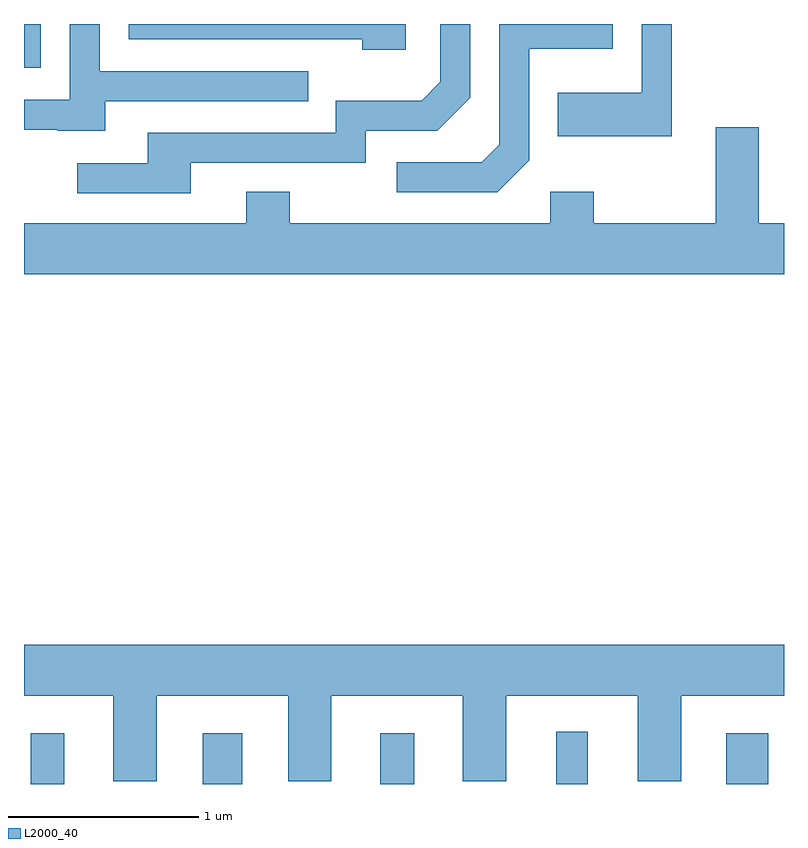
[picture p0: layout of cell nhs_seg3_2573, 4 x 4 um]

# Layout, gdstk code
import gdstk
lib = gdstk.Library(unit=1e-6, precision=1e-09)
def R(c, l, rs):  # rectangles x0, y0, x1, y1
    for r in rs: c.add(gdstk.rectangle(r[:2], r[2:], *l))
def P(c, l, *ps):  # polygons
    for p in ps: c.add(gdstk.Polygon(p, *l))
L2000_40 = (2000, 40)

nhs_seg3_2573 = lib.new_cell('nhs_seg3_2573')
R(nhs_seg3_2573, L2000_40, [(259.646,1229.892,259.824,1230.159), (260.551,1229.892,260.759,1230.159), (261.486,1229.892,261.664,1230.159), (262.411,1229.892,262.579,1230.168), (263.306,1229.892,263.529,1230.159), (259.611,1233.663,259.699,1233.892)])
P(nhs_seg3_2573, L2000_40, [(260.489,1233.161),(261.409,1233.161),(261.409,1233.331),(261.787,1233.331),(261.959,1233.504),(261.959,1233.892),(261.801,1233.892),(261.801,1233.587),(261.704,1233.489),(261.251,1233.489),(261.251,1233.319),(260.261,1233.319),(260.261,1233.159),(259.892,1233.159),(259.892,1233.001),(260.489,1233.001)],
  [(263.019,1233.892),(262.861,1233.892),(262.861,1233.529),(262.421,1233.529),(262.421,1233.301),(263.019,1233.301)],
  [(260.039,1233.486),(261.108,1233.486),(261.108,1233.644),(260.009,1233.644),(260.009,1233.892),(259.851,1233.892),(259.851,1233.494),(259.611,1233.494),(259.611,1233.336),(259.785,1233.336),(259.785,1233.331),(260.039,1233.331)],
  [(261.619,1233.892),(260.161,1233.892),(260.161,1233.811),(261.391,1233.811),(261.391,1233.756),(261.619,1233.756)],
  [(262.269,1233.174),(262.269,1233.761),(262.709,1233.761),(262.709,1233.892),(262.111,1233.892),(262.111,1233.257),(262.019,1233.164),(261.573,1233.164),(261.573,1233.006),(262.102,1233.006)],
  [(263.611,1232.844),(263.479,1232.844),(263.479,1233.349),(263.251,1233.349),(263.251,1232.844),(262.609,1232.844),(262.609,1233.009),(262.381,1233.009),(262.381,1232.844),(261.009,1232.844),(261.009,1233.009),(260.781,1233.009),(260.781,1232.844),(259.611,1232.844),(259.611,1232.576),(263.611,1232.576)],
  [(260.309,1230.356),(261.001,1230.356),(261.001,1229.906),(261.229,1229.906),(261.229,1230.356),(261.921,1230.356),(261.921,1229.906),(262.149,1229.906),(262.149,1230.356),(262.841,1230.356),(262.841,1229.906),(263.069,1229.906),(263.069,1230.356),(263.611,1230.356),(263.611,1230.624),(259.611,1230.624),(259.611,1230.356),(260.081,1230.356),(260.081,1229.906),(260.309,1229.906)])

lib.write_gds('nhs_seg3_2573.gds')
